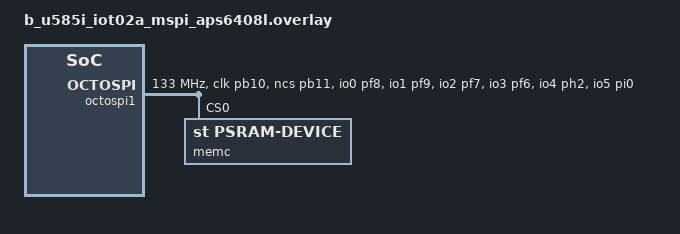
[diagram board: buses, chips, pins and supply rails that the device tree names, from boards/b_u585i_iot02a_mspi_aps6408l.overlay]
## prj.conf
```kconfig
CONFIG_ZTEST=y
CONFIG_MEMC=y
```

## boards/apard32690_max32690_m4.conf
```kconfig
CONFIG_CLOCK_CONTROL_INIT_PRIORITY=15
CONFIG_MEMC_INIT_PRIORITY=20
```

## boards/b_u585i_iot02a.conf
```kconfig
# SPDX-FileCopyrightText: Copyright The Zephyr Project Contributors
# SPDX-License-Identifier: Apache-2.0

CONFIG_LOG=y
CONFIG_MSPI=y
CONFIG_MSPI_LOG_LEVEL_INF=y
CONFIG_MSPI_MEMMAP=y
CONFIG_MSPI_TIMING=y
```

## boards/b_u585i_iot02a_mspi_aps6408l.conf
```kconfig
# SPDX-FileCopyrightText: Copyright The Zephyr Project Contributors
# SPDX-License-Identifier: Apache-2.0

CONFIG_LOG=y
CONFIG_MSPI_LOG_LEVEL_INF=y
CONFIG_MSPI_XIP=y
CONFIG_MSPI_TIMING=y
```

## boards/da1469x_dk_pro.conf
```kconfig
#
# Copyright (c) 2023 Renesas Electronics Corporation
#
# SPDX-License-Identifier: Apache-2.0
#
#
CONFIG_MEMC=y
```

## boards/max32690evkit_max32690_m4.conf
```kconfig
CONFIG_ZTEST=y
CONFIG_MEMC=y
CONFIG_CLOCK_CONTROL_INIT_PRIORITY=15
CONFIG_MEMC_INIT_PRIORITY=20
```

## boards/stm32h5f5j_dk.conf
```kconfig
# Copyright (c) 2026 EXALT Technologies
# SPDX-License-Identifier: Apache-2.0

CONFIG_LOG=y
CONFIG_MSPI=y
CONFIG_MSPI_LOG_LEVEL_INF=y
CONFIG_HEAP_MEM_POOL_SIZE=8192
CONFIG_MSPI_MEMMAP=y
CONFIG_MSPI_TIMING=y
```

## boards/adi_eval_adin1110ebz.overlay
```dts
/*
 * Copyright (c) 2025 STMicroelectronics
 *
 * SPDX-License-Identifier: Apache-2.0
 */

&sram1 {
	status = "disabled";
};

&sram2 {
	status = "disabled";
};
```

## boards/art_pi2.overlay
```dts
/*
 * SPDX-FileCopyrightText: Copyright The Zephyr Project Contributors
 * SPDX-License-Identifier: Apache-2.0
 */

/ {
	aliases {
		psram0 = &memc;
	};
};
```

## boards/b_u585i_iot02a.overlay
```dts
/*
 * Copyright (c) 2025 ZAL Zentrum für Angewandte Luftfahrtforschung GmbH
 * Copyright (c) 2026 STMicroelectronics
 *
 * SPDX-License-Identifier: Apache-2.0
 */

&sram1 {
	status = "disabled";
};

/ {
	aliases {
		psram0 = &memc;
	};
};
```

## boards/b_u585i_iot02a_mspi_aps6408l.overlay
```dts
/*
 * Copyright (c) 2026 EXALT Technologies
 *
 * SPDX-License-Identifier: Apache-2.0
 */

/delete-node/ &octospi1;

&sram1 {
	status = "disabled";
};

/ {
	soc {
		octospi1: spi@420d1400 {
			compatible = "st,stm32-ospi-controller";
			reg = <0x420d1400 0x400>, <0x90000000 DT_SIZE_M(256)>;
			interrupts = <76 0>;
			clock-names = "ospix", "ospi-ker", "ospi-mgr";
			clocks = <&rcc STM32_CLOCK(AHB2_2, 4)>,
				 <&rcc STM32_SRC_SYSCLK OCTOSPI_SEL(0)>,
				 <&rcc STM32_CLOCK(AHB2, 21)>;
			clock-frequency = <DT_FREQ_M(133)>;
			#address-cells = <1>;
			#size-cells = <0>;
			pinctrl-0 = <&octospim_p1_clk_pb10 &octospim_p1_ncs_pb11
				     &octospim_p1_io0_pf8 &octospim_p1_io1_pf9
				     &octospim_p1_io2_pf7 &octospim_p1_io3_pf6
				     &octospim_p1_io4_ph2 &octospim_p1_io5_pi0
				     &octospim_p1_io6_pc3 &octospim_p1_io7_pd7
				     &octospim_p1_dqs_pe3>;
			pinctrl-names = "default";
			st,csbound = <3>;
			status = "okay";

			memc: aps6408l: memory@0 {
				compatible = "st,psram-device", "aps-z8";
				reg = <0>;
				size = <DT_SIZE_M(64)>;
				mspi-max-frequency = <DT_FREQ_M(133)>;
				mspi-io-mode = "MSPI_IO_MODE_OCTAL";
				mspi-data-rate = "MSPI_DATA_RATE_S_D_D";
				mspi-hardware-ce-num = <0>;
				read-command = <0x20>;
				write-command = <0xa0>;
				command-length = "INSTR_1_BYTE";
				address-length = "ADDR_4_BYTE";
				rx-dummy = <5>;
				tx-dummy = <5>;
				memmap-config = <1 0 DT_SIZE_M(64) 0>;
				ce-break-config = <1024 4>;
				aps-version = "APS6408L";
				st,mem-type = "apmem";
				st,timing-config = <1>;
				zephyr,pm-device-runtime-auto;
			};
		};
	};
};
```

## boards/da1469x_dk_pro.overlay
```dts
/*
 * Copyright (c) 2023 Renesas Electronics Corporation
 *
 * SPDX-License-Identifier: Apache-2.0
 */

&memc {
	status = "okay";
	is-ram;
	dev-size = <DT_SIZE_M(64)>;
	enter-qpi-mode;
	rx-inst-mode = <2>;
	tx-inst-mode = <2>;
	extra-byte-enable;
};
```

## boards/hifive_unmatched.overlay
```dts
&dmc {
	status = "okay";
};
```

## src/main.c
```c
/*
 * Copyright (c) 2020, Teslabs Engineering S.L.
 * Copyright (c) 2022, Basalte bv
 * Copyright (c) 2025, ZAL Zentrum für Angewandte Luftfahrtforschung GmbH
 *
 * SPDX-License-Identifier: Apache-2.0
 */

#include <zephyr/linker/devicetree_regions.h>
#include <zephyr/kernel.h>
#include <zephyr/ztest.h>

/** Buffer size. */
#define BUF_SIZE_PSRAM	524288U
#define BUF_SIZE_SDRAM	64U
#define BUF_SIZE_SRAM	64U

#define BUF_DEF(label, size) static uint32_t buf_##label[(size) / sizeof(uint32_t)] \
	Z_GENERIC_SECTION(LINKER_DT_NODE_REGION_NAME(DT_NODELABEL(label)))

/**
 * @brief Helper function to test RAM r/w.
 *
 * @param mem RAM memory location to be tested.
 */
static void test_ram_rw(uint32_t *mem, size_t size_byte)
{
	size_t size_32b = size_byte / sizeof(uint32_t);

	/* fill memory with number range (0, BUF_SIZE - 1) */
	for (size_t i = 0U; i < size_32b; i++) {
		mem[i] = i;
	}

	/* check that memory contains written range */
	for (size_t i = 0U; i < size_32b; i++) {
		zassert_equal(mem[i], i, "Unexpected content @%p: 0x%x != 0x%zx",
			      mem + i, mem[i], i);
	}
}

#if DT_NODE_HAS_STATUS_OKAY(DT_NODELABEL(sdram1))
BUF_DEF(sdram1, BUF_SIZE_SDRAM);
#endif
#if DT_NODE_HAS_STATUS_OKAY(DT_NODELABEL(sdram2))
BUF_DEF(sdram2, BUF_SIZE_SDRAM);
#endif
#if DT_NODE_HAS_STATUS_OKAY(DT_NODELABEL(sram1))
BUF_DEF(sram1, BUF_SIZE_SRAM);
#endif
#if DT_NODE_HAS_STATUS_OKAY(DT_NODELABEL(sram2))
BUF_DEF(sram2, BUF_SIZE_SRAM);
#endif
#if DT_NODE_HAS_STATUS_OKAY(DT_NODELABEL(memc))
BUF_DEF(psram, BUF_SIZE_PSRAM);
#endif

#if DT_NODE_HAS_STATUS_OKAY(DT_NODELABEL(ram0))
#define RAM_SIZE DT_REG_SIZE(DT_NODELABEL(ram0))
static uint32_t *buf_ram0 = (uint32_t *)DT_REG_ADDR(DT_NODELABEL(ram0));
#endif

ZTEST_SUITE(test_ram, NULL, NULL, NULL, NULL, NULL);

ZTEST(test_ram, test_sdram1)
{
#if DT_NODE_HAS_STATUS_OKAY(DT_NODELABEL(sdram1))
	test_ram_rw(buf_sdram1, BUF_SIZE_SDRAM);
#else
	ztest_test_skip();
#endif
}

ZTEST(test_ram, test_ram0)
{
#if DT_NODE_HAS_STATUS_OKAY(DT_NODELABEL(ram0))
	test_ram_rw(buf_ram0, RAM_SIZE);
#else
	ztest_test_skip();
#endif
}

ZTEST(test_ram, test_sdram2)
{
#if DT_NODE_HAS_STATUS_OKAY(DT_NODELABEL(sdram2))
	test_ram_rw(buf_sdram2, BUF_SIZE_SDRAM);
#else
	ztest_test_skip();
#endif
}

ZTEST(test_ram, test_sram1)
{
#if DT_NODE_HAS_STATUS_OKAY(DT_NODELABEL(sram1))
	test_ram_rw(buf_sram1, BUF_SIZE_SRAM);
#else
	ztest_test_skip();
#endif
}

ZTEST(test_ram, test_sram2)
{
#if DT_NODE_HAS_STATUS_OKAY(DT_NODELABEL(sram2))
	test_ram_rw(buf_sram2, BUF_SIZE_SRAM);
#else
	ztest_test_skip();
#endif
}

ZTEST(test_ram, test_psram)
{
#if DT_NODE_HAS_STATUS_OKAY(DT_NODELABEL(memc))
	test_ram_rw(buf_psram, BUF_SIZE_PSRAM);
#else
	ztest_test_skip();
#endif
}
```
